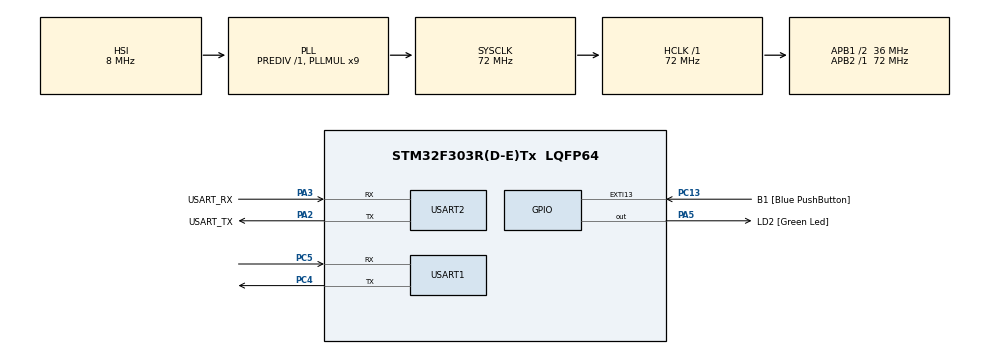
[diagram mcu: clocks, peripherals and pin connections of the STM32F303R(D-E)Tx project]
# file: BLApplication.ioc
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Mcu.Family=STM32F3
Mcu.Name=STM32F303R(D-E)Tx
Mcu.Package=LQFP64
NVIC.PriorityGroup=NVIC_PRIORITYGROUP_0
NVIC.USART1_IRQn=true\:0\:0\:false\:false\:true\:true\:true\:true
PA13.GPIO_Label=TMS
PA13.Mode=Serial_Wire
PA13.Signal=SYS_JTMS-SWDIO
PA14.GPIO_Label=TCK
PA14.Mode=Serial_Wire
PA14.Signal=SYS_JTCK-SWCLK
PA2.GPIO_Label=USART_TX
PA2.GPIO_Mode=GPIO_MODE_AF_PP
PA2.GPIO_PuPd=GPIO_NOPULL
PA2.GPIO_Speed=GPIO_SPEED_FREQ_LOW
PA2.Mode=Asynchronous
PA2.Signal=USART2_TX
PA3.GPIO_Label=USART_RX
PA3.GPIO_Mode=GPIO_MODE_AF_PP
PA3.GPIO_PuPd=GPIO_NOPULL
PA3.GPIO_Speed=GPIO_SPEED_FREQ_LOW
PA3.Mode=Asynchronous
PA3.Signal=USART2_RX
PA5.GPIO_Label=LD2 [Green Led]
PA5.GPIO_Mode=GPIO_MODE_OUTPUT_PP
PA5.GPIO_PuPd=GPIO_NOPULL
PA5.GPIO_Speed=GPIO_SPEED_FREQ_LOW
PA5.Signal=GPIO_Output
PB3.GPIO_Label=SWO
PB3.Signal=SYS_JTDO-TRACESWO
PC13.GPIO_Label=B1 [Blue PushButton]
PC13.GPIO_ModeDefaultEXTI=GPIO_MODE_IT_FALLING
PC13.Signal=GPXTI13
PC14-OSC32_IN.Mode=LSE-External-Oscillator
PC14-OSC32_IN.Signal=RCC_OSC32_IN
PC15-OSC32_OUT.Mode=LSE-External-Oscillator
PC15-OSC32_OUT.Signal=RCC_OSC32_OUT
PC4.Mode=Asynchronous
PC4.Signal=USART1_TX
PC5.Mode=Asynchronous
PC5.Signal=USART1_RX
PF0-OSC_IN.Mode=HSE-External-Clock-Source
PF0-OSC_IN.Signal=RCC_OSC_IN
PF1-OSC_OUT.Signal=RCC_OSC_OUT
ProjectManager.HeapSize=0x200
ProjectManager.StackSize=0x400
ProjectManager.TargetToolchain=STM32CubeIDE
RCC.AHBFreq_Value=72000000
RCC.APB1CLKDivider=RCC_HCLK_DIV2
RCC.APB1Freq_Value=36000000
RCC.APB1TimFreq_Value=72000000
RCC.APB2Freq_Value=72000000
RCC.APB2TimFreq_Value=72000000
RCC.CortexFreq_Value=72000000
RCC.HCLKFreq_Value=72000000
RCC.HSE_VALUE=8000000
RCC.HSI_VALUE=8000000
RCC.PLLM=8
RCC.PLLMUL=RCC_PLL_MUL9
RCC.PLLN=336
RCC.PLLP=RCC_PLLP_DIV4
RCC.PLLQ=7
RCC.RCC_PLLsource_Clock_Source_FROM_HSE=RCC_HSE_PREDIV_DIV2
RCC.SYSCLKFreq_VALUE=72000000
RCC.SYSCLKSourceVirtual=RCC_SYSCLKSOURCE_PLLCLK
RCC.USBFreq_Value=72000000
USART1.VirtualMode-Asynchronous=VM_ASYNC
USART2.VirtualMode-Asynchronous=VM_ASYNC
board=NUCLEO-F303RE

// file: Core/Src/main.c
/* USER CODE BEGIN Header */
/**
  ******************************************************************************
  * @file           : main.c
  * @brief          : Main program body
  ******************************************************************************
  * @attention
  *
  * Copyright (c) 2022 STMicroelectronics.
  * All rights reserved.
  *
  * This software is licensed under terms that can be found in the LICENSE file
  * in the root directory of this software component.
  * If no LICENSE file comes with this software, it is provided AS-IS.
  *
  ******************************************************************************
  */
/* USER CODE END Header */
#include "main.h"

 UART_HandleTypeDef huart1;
UART_HandleTypeDef huart2;

/* USER CODE BEGIN PV */
uint8_t Received; //Przechowywanie odebranych danych
/* USER CODE END PV */

void SystemClock_Config(void);
static void MX_GPIO_Init(void);
static void MX_USART2_UART_Init(void);
static void MX_USART1_UART_Init(void);

/* USER CODE BEGIN PFP */
void HAL_UART_RxCpltCallback(UART_HandleTypeDef *huart) {

	uint8_t dataToSend[50]; // Tablica przechowujaca wysylana wiadomosc.
	uint16_t size = 0; // Rozmiar wysylanej wiadomosci

	// Odebrany znak zostaje przekonwertowany na liczbe calkowita i sprawdzony
	// instrukcja warunkowa
	switch (Received) {

		case 0xB0:
			NVIC_SystemReset();
			break;

		default:
			size = sprintf(dataToSend, "WRONGMSG");
			break;
	}

	HAL_UART_Transmit_IT(&huart1, dataToSend, size); // Rozpoczecie nadawania danych z wykorzystaniem przerwan
	HAL_UART_Receive_IT(&huart1, &Received, 1); // Ponowne włączenie nasłuchiwania
}

/* USER CODE END PFP */

int main(void)
{

  /* MCU Configuration--------------------------------------------------------*/

  /* Reset of all peripherals, Initializes the Flash interface and the Systick. */
  HAL_Init();

  /* Configure the system clock */
  SystemClock_Config();

  /* Initialize all configured peripherals */
  MX_GPIO_Init();
  MX_USART2_UART_Init();
  MX_USART1_UART_Init();
  /* USER CODE BEGIN 2 */
  HAL_UART_Receive_IT(&huart1, &Received, 1);//uruchomienie nasłuchiwania na UART1

  /* USER CODE END 2 */

  /* Infinite loop */
  /* USER CODE BEGIN WHILE */
  while (1)
  {
	  HAL_GPIO_TogglePin (GPIOA, GPIO_PIN_5);
	  HAL_Delay (150);   /* Insert delay 100 ms */
    /* USER CODE END WHILE */

  }
}

void SystemClock_Config(void)
{
  RCC_OscInitTypeDef RCC_OscInitStruct = {0};
  RCC_ClkInitTypeDef RCC_ClkInitStruct = {0};
  RCC_PeriphCLKInitTypeDef PeriphClkInit = {0};

  /** Initializes the RCC Oscillators according to the specified parameters
  * in the RCC_OscInitTypeDef structure.
  */
  RCC_OscInitStruct.OscillatorType = RCC_OSCILLATORTYPE_HSI;
  RCC_OscInitStruct.HSIState = RCC_HSI_ON;
  RCC_OscInitStruct.HSICalibrationValue = RCC_HSICALIBRATION_DEFAULT;
  RCC_OscInitStruct.PLL.PLLState = RCC_PLL_ON;
  RCC_OscInitStruct.PLL.PLLSource = RCC_PLLSOURCE_HSI;
  RCC_OscInitStruct.PLL.PLLMUL = RCC_PLL_MUL9;
  RCC_OscInitStruct.PLL.PREDIV = RCC_PREDIV_DIV1;
  if (HAL_RCC_OscConfig(&RCC_OscInitStruct) != HAL_OK)
  {
    Error_Handler();
  }

  /** Initializes the CPU, AHB and APB buses clocks
  */
  RCC_ClkInitStruct.ClockType = RCC_CLOCKTYPE_HCLK|RCC_CLOCKTYPE_SYSCLK
                              |RCC_CLOCKTYPE_PCLK1|RCC_CLOCKTYPE_PCLK2;
  RCC_ClkInitStruct.SYSCLKSource = RCC_SYSCLKSOURCE_PLLCLK;
  RCC_ClkInitStruct.AHBCLKDivider = RCC_SYSCLK_DIV1;
  RCC_ClkInitStruct.APB1CLKDivider = RCC_HCLK_DIV2;
  RCC_ClkInitStruct.APB2CLKDivider = RCC_HCLK_DIV1;

  if (HAL_RCC_ClockConfig(&RCC_ClkInitStruct, FLASH_LATENCY_2) != HAL_OK)
  {
    Error_Handler();
  }
  PeriphClkInit.PeriphClockSelection = RCC_PERIPHCLK_USART1|RCC_PERIPHCLK_USART2;
  PeriphClkInit.Usart1ClockSelection = RCC_USART1CLKSOURCE_PCLK2;
  PeriphClkInit.Usart2ClockSelection = RCC_USART2CLKSOURCE_PCLK1;
  if (HAL_RCCEx_PeriphCLKConfig(&PeriphClkInit) != HAL_OK)
  {
    Error_Handler();
  }
}

static void MX_USART1_UART_Init(void)
{

  huart1.Instance = USART1;
  huart1.Init.BaudRate = 38400;
  huart1.Init.WordLength = UART_WORDLENGTH_8B;
  huart1.Init.StopBits = UART_STOPBITS_1;
  huart1.Init.Parity = UART_PARITY_NONE;
  huart1.Init.Mode = UART_MODE_TX_RX;
  huart1.Init.HwFlowCtl = UART_HWCONTROL_NONE;
  huart1.Init.OverSampling = UART_OVERSAMPLING_16;
  huart1.Init.OneBitSampling = UART_ONE_BIT_SAMPLE_DISABLE;
  huart1.AdvancedInit.AdvFeatureInit = UART_ADVFEATURE_NO_INIT;
  if (HAL_UART_Init(&huart1) != HAL_OK)
  {
    Error_Handler();
  }

}

static void MX_USART2_UART_Init(void)
{

  huart2.Instance = USART2;
  huart2.Init.BaudRate = 38400;
  huart2.Init.WordLength = UART_WORDLENGTH_8B;
  huart2.Init.StopBits = UART_STOPBITS_1;
  huart2.Init.Parity = UART_PARITY_NONE;
  huart2.Init.Mode = UART_MODE_TX_RX;
  huart2.Init.HwFlowCtl = UART_HWCONTROL_NONE;
  huart2.Init.OverSampling = UART_OVERSAMPLING_16;
  huart2.Init.OneBitSampling = UART_ONE_BIT_SAMPLE_DISABLE;
  huart2.AdvancedInit.AdvFeatureInit = UART_ADVFEATURE_NO_INIT;
  if (HAL_UART_Init(&huart2) != HAL_OK)
  {
    Error_Handler();
  }

}

static void MX_GPIO_Init(void)
{
  GPIO_InitTypeDef GPIO_InitStruct = {0};

  /* GPIO Ports Clock Enable */
  __HAL_RCC_GPIOC_CLK_ENABLE();
  __HAL_RCC_GPIOF_CLK_ENABLE();
  __HAL_RCC_GPIOA_CLK_ENABLE();
  __HAL_RCC_GPIOB_CLK_ENABLE();

  /*Configure GPIO pin Output Level */
  HAL_GPIO_WritePin(LD2_GPIO_Port, LD2_Pin, GPIO_PIN_RESET);

  /*Configure GPIO pin : B1_Pin */
  GPIO_InitStruct.Pin = B1_Pin;
  GPIO_InitStruct.Mode = GPIO_MODE_IT_FALLING;
  GPIO_InitStruct.Pull = GPIO_NOPULL;
  HAL_GPIO_Init(B1_GPIO_Port, &GPIO_InitStruct);

  /*Configure GPIO pin : LD2_Pin */
  GPIO_InitStruct.Pin = LD2_Pin;
  GPIO_InitStruct.Mode = GPIO_MODE_OUTPUT_PP;
  GPIO_InitStruct.Pull = GPIO_NOPULL;
  GPIO_InitStruct.Speed = GPIO_SPEED_FREQ_LOW;
  HAL_GPIO_Init(LD2_GPIO_Port, &GPIO_InitStruct);

}

void Error_Handler(void)
{
  __disable_irq();
  while (1)
  {
  }
}
